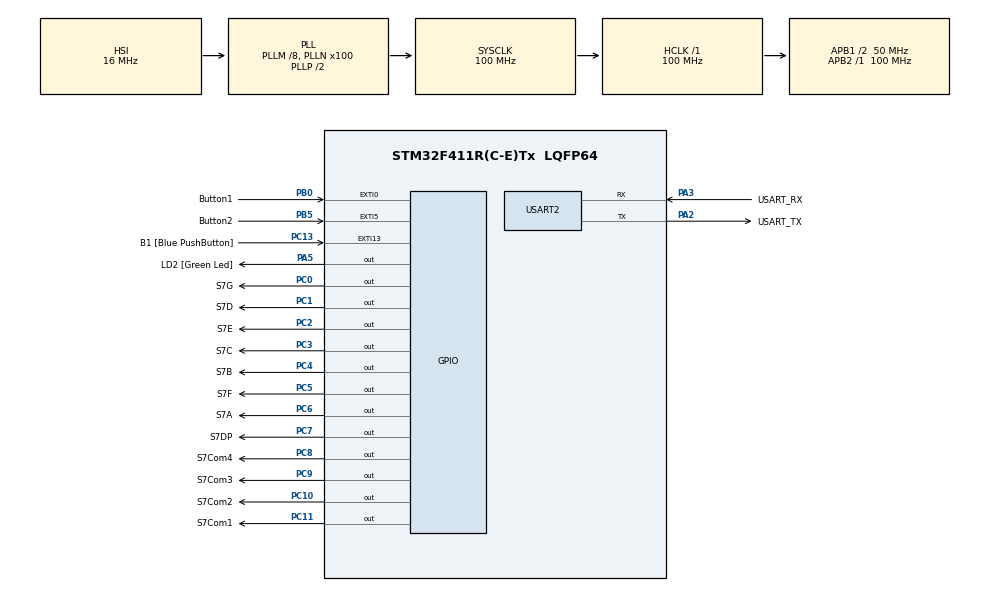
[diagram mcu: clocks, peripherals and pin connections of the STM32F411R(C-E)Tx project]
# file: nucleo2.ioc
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Mcu.Family=STM32F4
Mcu.Name=STM32F411R(C-E)Tx
Mcu.Package=LQFP64
NVIC.EXTI0_IRQn=true\:0\:0\:false\:false\:true\:true\:true\:true
NVIC.EXTI9_5_IRQn=true\:0\:0\:false\:false\:true\:true\:true\:true
NVIC.PriorityGroup=NVIC_PRIORITYGROUP_0
PA13.GPIO_Label=TMS
PA13.Mode=Serial_Wire
PA13.Signal=SYS_JTMS-SWDIO
PA14.GPIO_Label=TCK
PA14.Mode=Serial_Wire
PA14.Signal=SYS_JTCK-SWCLK
PA2.GPIO_Label=USART_TX
PA2.Mode=Asynchronous
PA2.Signal=USART2_TX
PA3.GPIO_Label=USART_RX
PA3.Mode=Asynchronous
PA3.Signal=USART2_RX
PA5.GPIO_Label=LD2 [Green Led]
PA5.Signal=GPIO_Output
PB0.GPIO_Label=Button1
PB0.GPIO_PuPd=GPIO_PULLUP
PB0.Signal=GPXTI0
PB3.GPIO_Label=SWO
PB3.Signal=SYS_JTDO-SWO
PB5.GPIO_Label=Button2
PB5.GPIO_PuPd=GPIO_PULLUP
PB5.Signal=GPXTI5
PC0.GPIO_Label=S7G
PC0.Signal=GPIO_Output
PC1.GPIO_Label=S7D
PC1.Signal=GPIO_Output
PC10.GPIO_Label=S7Com2
PC10.Signal=GPIO_Output
PC11.GPIO_Label=S7Com1
PC11.Signal=GPIO_Output
PC13-ANTI_TAMP.GPIO_Label=B1 [Blue PushButton]
PC13-ANTI_TAMP.GPIO_ModeDefaultEXTI=GPIO_MODE_IT_FALLING
PC13-ANTI_TAMP.Signal=GPXTI13
PC14-OSC32_IN.Mode=LSE-External-Oscillator
PC14-OSC32_IN.Signal=RCC_OSC32_IN
PC15-OSC32_OUT.Mode=LSE-External-Oscillator
PC15-OSC32_OUT.Signal=RCC_OSC32_OUT
PC2.GPIO_Label=S7E
PC2.Signal=GPIO_Output
PC3.GPIO_Label=S7C
PC3.Signal=GPIO_Output
PC4.GPIO_Label=S7B
PC4.Signal=GPIO_Output
PC5.GPIO_Label=S7F
PC5.Signal=GPIO_Output
PC6.GPIO_Label=S7A
PC6.Signal=GPIO_Output
PC7.GPIO_Label=S7DP
PC7.Signal=GPIO_Output
PC8.GPIO_Label=S7Com4
PC8.Signal=GPIO_Output
PC9.GPIO_Label=S7Com3
PC9.Signal=GPIO_Output
PH0\ -\ OSC_IN.Mode=HSE-External-Clock-Source
PH0\ -\ OSC_IN.Signal=RCC_OSC_IN
PH1\ -\ OSC_OUT.Mode=HSE-External-Clock-Source
PH1\ -\ OSC_OUT.Signal=RCC_OSC_OUT
ProjectManager.HeapSize=0x200
ProjectManager.StackSize=0x400
ProjectManager.TargetToolchain=STM32CubeIDE
RCC.48MHZClocksFreq_Value=50000000
RCC.AHBFreq_Value=100000000
RCC.APB1CLKDivider=RCC_HCLK_DIV2
RCC.APB1Freq_Value=50000000
RCC.APB1TimFreq_Value=100000000
RCC.APB2Freq_Value=100000000
RCC.APB2TimFreq_Value=100000000
RCC.CortexFreq_Value=100000000
RCC.FLatency-AdvancedSettings=FLASH_LATENCY_3
RCC.HCLKFreq_Value=100000000
RCC.HSE_VALUE=8000000
RCC.HSI_VALUE=16000000
RCC.PLLM=8
RCC.PLLN=100
RCC.SYSCLKFreq_VALUE=100000000
RCC.SYSCLKSource=RCC_SYSCLKSOURCE_PLLCLK
RCC.VCOOutputFreq_Value=200000000
USART2.VirtualMode=VM_ASYNC
board=NUCLEO-F411RE

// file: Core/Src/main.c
/* USER CODE BEGIN Header */
/**
  ******************************************************************************
  * @file           : main.c
  * @brief          : Main program body
  ******************************************************************************
  * @attention
  *
  * Copyright (c) 2022 STMicroelectronics.
  * All rights reserved.
  *
  * This software is licensed under terms that can be found in the LICENSE file
  * in the root directory of this software component.
  * If no LICENSE file comes with this software, it is provided AS-IS.
  *
  ******************************************************************************
  */
/* USER CODE END Header */
#include "main.h"

UART_HandleTypeDef huart2;

const int LUT_table[10][8] = {
		  {1, 1, 1, 1, 1, 1, 0, 0}, //0
		  {0, 1, 1, 0, 0, 0, 0, 0}, //1
		  {1, 1, 0, 1, 1, 0, 1, 0}, //2
		  {1, 1, 1, 1, 0, 0, 1, 0}, //3
		  {0, 1, 1, 0, 0, 1, 1, 0}, //4
		  {1, 0, 1, 1, 0, 1, 1, 0}, //5
		  {1, 0, 1, 1, 1, 1, 1, 0}, //6
		  {1, 1, 1, 0, 0, 0, 0, 0}, //7
		  {1, 1, 1, 1, 1, 1, 1, 0}, //8
		  {1, 1, 1, 1, 0, 1, 1, 0}  //9
};

void SystemClock_Config(void);
static void MX_GPIO_Init(void);
static void MX_USART2_UART_Init(void);

/* USER CODE BEGIN 0 */
int Button1Cnt = 0;
int Button2Cnt = 0;
/* USER CODE END 0 */

int main(void)
{
  /* USER CODE BEGIN 1 */
	const int LUT_table[10][8] = {
				  {1, 1, 1, 1, 1, 1, 0, 0}, //0
				  {0, 1, 1, 0, 0, 0, 0, 0}, //1
				  {1, 1, 0, 1, 1, 0, 1, 0}, //2
				  {1, 1, 1, 1, 0, 0, 1, 0}, //3
				  {0, 1, 1, 0, 0, 1, 1, 0}, //4
				  {1, 0, 1, 1, 0, 1, 1, 0}, //5
				  {1, 0, 1, 1, 1, 1, 1, 0}, //6
				  {1, 1, 1, 0, 0, 0, 0, 0}, //7
				  {1, 1, 1, 1, 1, 1, 1, 0}, //8
				  {1, 1, 1, 1, 0, 1, 1, 0}  //9
		  };
		  void display_number(int segment, int number, int delay) {
		  	switch(segment){
		  			  case 0:
		  					HAL_GPIO_WritePin(GPIOC, S7Com1_Pin, GPIO_PIN_RESET);
		  					HAL_GPIO_WritePin(GPIOC, S7Com2_Pin, GPIO_PIN_SET);
		  					HAL_GPIO_WritePin(GPIOC, S7Com3_Pin, GPIO_PIN_SET);
		  					HAL_GPIO_WritePin(GPIOC, S7Com4_Pin, GPIO_PIN_SET);
		  					break;
		  			  case 1:
		  				  HAL_GPIO_WritePin(GPIOC, S7Com1_Pin, GPIO_PIN_SET);
		  				  HAL_GPIO_WritePin(GPIOC, S7Com2_Pin, GPIO_PIN_RESET);
		  				  HAL_GPIO_WritePin(GPIOC, S7Com3_Pin, GPIO_PIN_SET);
		  				  HAL_GPIO_WritePin(GPIOC, S7Com4_Pin, GPIO_PIN_SET);
		  					break;
		  			  case 2:
		  				  HAL_GPIO_WritePin(GPIOC, S7Com1_Pin, GPIO_PIN_SET);
		  				  HAL_GPIO_WritePin(GPIOC, S7Com2_Pin, GPIO_PIN_SET);
		  				  HAL_GPIO_WritePin(GPIOC, S7Com3_Pin, GPIO_PIN_RESET);
		  				  HAL_GPIO_WritePin(GPIOC, S7Com4_Pin, GPIO_PIN_SET);
		  					break;
		  			  case 3:
		  				  HAL_GPIO_WritePin(GPIOC, S7Com1_Pin, GPIO_PIN_SET);
		  				  HAL_GPIO_WritePin(GPIOC, S7Com2_Pin, GPIO_PIN_SET);
		  				  HAL_GPIO_WritePin(GPIOC, S7Com3_Pin, GPIO_PIN_SET);
		  				  HAL_GPIO_WritePin(GPIOC, S7Com4_Pin, GPIO_PIN_RESET);
		  					break;
		  	}
		  	HAL_GPIO_WritePin(GPIOC, S7A_Pin, LUT_table[number][0]);
			HAL_GPIO_WritePin(GPIOC, S7B_Pin, LUT_table[number][1]);
			HAL_GPIO_WritePin(GPIOC, S7C_Pin, LUT_table[number][2]);
			HAL_GPIO_WritePin(GPIOC, S7D_Pin, LUT_table[number][3]);
			HAL_GPIO_WritePin(GPIOC, S7E_Pin, LUT_table[number][4]);
			HAL_GPIO_WritePin(GPIOC, S7F_Pin, LUT_table[number][5]);
			HAL_GPIO_WritePin(GPIOC, S7G_Pin, LUT_table[number][6]);
			HAL_GPIO_WritePin(GPIOC, S7DP_Pin, LUT_table[number][7]);
			HAL_Delay(delay);
		  }
	int __io_putchar(int ch) {
		HAL_UART_Transmit(&huart2, (uint8_t *)&ch, 1, 0xFFFF);
		return ch;
	}

	int getchar(void) {
		uint8_t value;
			if( __HAL_UART_GET_FLAG(&huart2, UART_FLAG_RXNE) != SET )
				return( -1 );
			if (__HAL_UART_GET_FLAG(&huart2, UART_FLAG_RXNE) == SET)
				HAL_UART_Receive(&huart2, &value, 1, 100);
			__io_putchar( value );
			return ((int) value);
	}
  /* USER CODE END 1 */

  /* MCU Configuration--------------------------------------------------------*/

  /* Reset of all peripherals, Initializes the Flash interface and the Systick. */
  HAL_Init();

  /* Configure the system clock */
  SystemClock_Config();

  /* Initialize all configured peripherals */
  MX_GPIO_Init();
  MX_USART2_UART_Init();

  /* Infinite loop */
  while (1)
  {
		HAL_GPIO_WritePin(GPIOC, S7Com4_Pin, GPIO_PIN_RESET);
		display_number(1, Button1Cnt%10, 10);
		HAL_GPIO_WritePin(GPIOC, S7Com4_Pin, GPIO_PIN_SET);

		HAL_GPIO_WritePin(GPIOC, S7Com3_Pin, GPIO_PIN_RESET);
		display_number(0, Button1Cnt%100-Button1Cnt%10, 10);
		HAL_GPIO_WritePin(GPIOC, S7Com3_Pin, GPIO_PIN_SET);

		HAL_GPIO_WritePin(GPIOC, S7Com2_Pin, GPIO_PIN_RESET);
		display_number(3, Button2Cnt%10, 10);
		HAL_GPIO_WritePin(GPIOC, S7Com4_Pin, GPIO_PIN_SET);

		HAL_GPIO_WritePin(GPIOC, S7Com1_Pin, GPIO_PIN_RESET);
		display_number(2, Button2Cnt%100-Button2Cnt%10, 10);
		HAL_GPIO_WritePin(GPIOC, S7Com3_Pin, GPIO_PIN_SET);

  }
}

void SystemClock_Config(void)
{
  RCC_OscInitTypeDef RCC_OscInitStruct = {0};
  RCC_ClkInitTypeDef RCC_ClkInitStruct = {0};

  /** Configure the main internal regulator output voltage
  */
  __HAL_RCC_PWR_CLK_ENABLE();
  __HAL_PWR_VOLTAGESCALING_CONFIG(PWR_REGULATOR_VOLTAGE_SCALE1);

  /** Initializes the RCC Oscillators according to the specified parameters
  * in the RCC_OscInitTypeDef structure.
  */
  RCC_OscInitStruct.OscillatorType = RCC_OSCILLATORTYPE_HSI;
  RCC_OscInitStruct.HSIState = RCC_HSI_ON;
  RCC_OscInitStruct.HSICalibrationValue = RCC_HSICALIBRATION_DEFAULT;
  RCC_OscInitStruct.PLL.PLLState = RCC_PLL_ON;
  RCC_OscInitStruct.PLL.PLLSource = RCC_PLLSOURCE_HSI;
  RCC_OscInitStruct.PLL.PLLM = 8;
  RCC_OscInitStruct.PLL.PLLN = 100;
  RCC_OscInitStruct.PLL.PLLP = RCC_PLLP_DIV2;
  RCC_OscInitStruct.PLL.PLLQ = 4;
  if (HAL_RCC_OscConfig(&RCC_OscInitStruct) != HAL_OK)
  {
    Error_Handler();
  }

  /** Initializes the CPU, AHB and APB buses clocks
  */
  RCC_ClkInitStruct.ClockType = RCC_CLOCKTYPE_HCLK|RCC_CLOCKTYPE_SYSCLK
                              |RCC_CLOCKTYPE_PCLK1|RCC_CLOCKTYPE_PCLK2;
  RCC_ClkInitStruct.SYSCLKSource = RCC_SYSCLKSOURCE_PLLCLK;
  RCC_ClkInitStruct.AHBCLKDivider = RCC_SYSCLK_DIV1;
  RCC_ClkInitStruct.APB1CLKDivider = RCC_HCLK_DIV2;
  RCC_ClkInitStruct.APB2CLKDivider = RCC_HCLK_DIV1;

  if (HAL_RCC_ClockConfig(&RCC_ClkInitStruct, FLASH_LATENCY_3) != HAL_OK)
  {
    Error_Handler();
  }
}

static void MX_USART2_UART_Init(void)
{

  huart2.Instance = USART2;
  huart2.Init.BaudRate = 115200;
  huart2.Init.WordLength = UART_WORDLENGTH_8B;
  huart2.Init.StopBits = UART_STOPBITS_1;
  huart2.Init.Parity = UART_PARITY_NONE;
  huart2.Init.Mode = UART_MODE_TX_RX;
  huart2.Init.HwFlowCtl = UART_HWCONTROL_NONE;
  huart2.Init.OverSampling = UART_OVERSAMPLING_16;
  if (HAL_UART_Init(&huart2) != HAL_OK)
  {
    Error_Handler();
  }

}

static void MX_GPIO_Init(void)
{
  GPIO_InitTypeDef GPIO_InitStruct = {0};

  /* GPIO Ports Clock Enable */
  __HAL_RCC_GPIOC_CLK_ENABLE();
  __HAL_RCC_GPIOH_CLK_ENABLE();
  __HAL_RCC_GPIOA_CLK_ENABLE();
  __HAL_RCC_GPIOB_CLK_ENABLE();

  /*Configure GPIO pin Output Level */
  HAL_GPIO_WritePin(GPIOC, S7G_Pin|S7D_Pin|S7E_Pin|S7C_Pin
                          |S7B_Pin|S7F_Pin|S7A_Pin|S7DP_Pin
                          |S7Com4_Pin|S7Com3_Pin|S7Com2_Pin|S7Com1_Pin, GPIO_PIN_RESET);

  /*Configure GPIO pin Output Level */
  HAL_GPIO_WritePin(LD2_GPIO_Port, LD2_Pin, GPIO_PIN_RESET);

  /*Configure GPIO pin : B1_Pin */
  GPIO_InitStruct.Pin = B1_Pin;
  GPIO_InitStruct.Mode = GPIO_MODE_IT_FALLING;
  GPIO_InitStruct.Pull = GPIO_NOPULL;
  HAL_GPIO_Init(B1_GPIO_Port, &GPIO_InitStruct);

  /*Configure GPIO pins : S7G_Pin S7D_Pin S7E_Pin S7C_Pin
                           S7B_Pin S7F_Pin S7A_Pin S7DP_Pin
                           S7Com4_Pin S7Com3_Pin S7Com2_Pin S7Com1_Pin */
  GPIO_InitStruct.Pin = S7G_Pin|S7D_Pin|S7E_Pin|S7C_Pin
                          |S7B_Pin|S7F_Pin|S7A_Pin|S7DP_Pin
                          |S7Com4_Pin|S7Com3_Pin|S7Com2_Pin|S7Com1_Pin;
  GPIO_InitStruct.Mode = GPIO_MODE_OUTPUT_PP;
  GPIO_InitStruct.Pull = GPIO_NOPULL;
  GPIO_InitStruct.Speed = GPIO_SPEED_FREQ_LOW;
  HAL_GPIO_Init(GPIOC, &GPIO_InitStruct);

  /*Configure GPIO pin : LD2_Pin */
  GPIO_InitStruct.Pin = LD2_Pin;
  GPIO_InitStruct.Mode = GPIO_MODE_OUTPUT_PP;
  GPIO_InitStruct.Pull = GPIO_NOPULL;
  GPIO_InitStruct.Speed = GPIO_SPEED_FREQ_LOW;
  HAL_GPIO_Init(LD2_GPIO_Port, &GPIO_InitStruct);

  /*Configure GPIO pins : Button1_Pin Button2_Pin */
  GPIO_InitStruct.Pin = Button1_Pin|Button2_Pin;
  GPIO_InitStruct.Mode = GPIO_MODE_IT_RISING;
  GPIO_InitStruct.Pull = GPIO_PULLUP;
  HAL_GPIO_Init(GPIOB, &GPIO_InitStruct);

  /* EXTI interrupt init*/
  HAL_NVIC_SetPriority(EXTI0_IRQn, 0, 0);
  HAL_NVIC_EnableIRQ(EXTI0_IRQn);

  HAL_NVIC_SetPriority(EXTI9_5_IRQn, 0, 0);
  HAL_NVIC_EnableIRQ(EXTI9_5_IRQn);

}

/* USER CODE BEGIN 4 */
	HAL_GPIO_EXTI_Callback(uint16_t GPIO_Pin){

		if( GPIO_Pin == Button1_Pin) Button1Cnt++;
		if( GPIO_Pin == Button2_Pin) Button2Cnt++;
	}
/* USER CODE END 4 */

void Error_Handler(void)
{
  __disable_irq();
  while (1)
  {
  }
}
